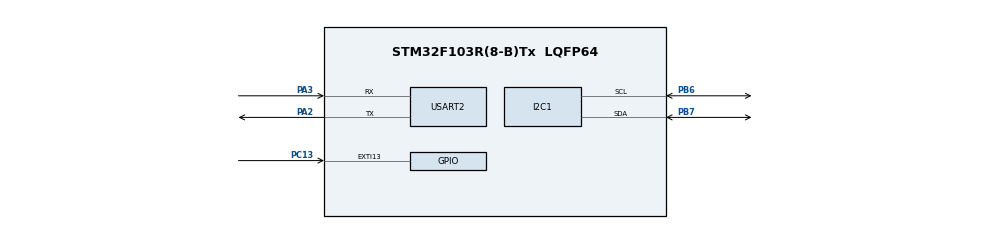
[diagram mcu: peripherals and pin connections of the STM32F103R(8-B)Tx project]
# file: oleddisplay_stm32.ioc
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FREERTOS.Tasks01=defaultTask,0,128,StartDefaultTask,Default,NULL,Dynamic,NULL,NULL
Mcu.Family=STM32F1
Mcu.Name=STM32F103R(8-B)Tx
Mcu.Package=LQFP64
NVIC.PriorityGroup=NVIC_PRIORITYGROUP_4
NVIC.TIM1_UP_IRQn=true\:15\:0\:false\:false\:true\:false\:false\:true\:true
NVIC.TimeBase=TIM1_UP_IRQn
NVIC.TimeBaseIP=TIM1
PA2.Mode=Asynchronous
PA2.Signal=USART2_TX
PA3.Mode=Asynchronous
PA3.Signal=USART2_RX
PB6.Mode=I2C
PB6.Signal=I2C1_SCL
PB7.Mode=I2C
PB7.Signal=I2C1_SDA
PC13-TAMPER-RTC.Signal=GPXTI13
PC14-OSC32_IN.Mode=LSE-External-Oscillator
PC14-OSC32_IN.Signal=RCC_OSC32_IN
PC15-OSC32_OUT.Mode=LSE-External-Oscillator
PC15-OSC32_OUT.Signal=RCC_OSC32_OUT
PD0-OSC_IN.Mode=HSE-External-Clock-Source
PD0-OSC_IN.Signal=RCC_OSC_IN
PD1-OSC_OUT.Mode=HSE-External-Clock-Source
PD1-OSC_OUT.Signal=RCC_OSC_OUT
ProjectManager.HeapSize=0x200
ProjectManager.StackSize=0x400
ProjectManager.TargetToolchain=STM32CubeIDE
RCC.APB1Freq_Value=8000000
RCC.APB2Freq_Value=8000000
USART2.VirtualMode=VM_ASYNC
VP_FREERTOS_VS_CMSIS_V1.Mode=CMSIS_V1
VP_SYS_VS_ND.Mode=No_Debug
VP_SYS_VS_tim1.Mode=TIM1
board=custom

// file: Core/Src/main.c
/* USER CODE BEGIN Header */
/**
  ******************************************************************************
  * @file           : main.c
  * @brief          : Main program body
  ******************************************************************************
  * @attention
  *
  * Copyright (c) 2026 STMicroelectronics.
  * All rights reserved.
  *
  * This software is licensed under terms that can be found in the LICENSE file
  * in the root directory of this software component.
  * If no LICENSE file comes with this software, it is provided AS-IS.
  *
  ******************************************************************************
  */
/* USER CODE END Header */
#include "main.h"
#include "cmsis_os.h"

/* USER CODE BEGIN Includes */
#include <stdio.h>
/* USER CODE END Includes */

I2C_HandleTypeDef hi2c1;

UART_HandleTypeDef huart2;

osThreadId defaultTaskHandle;

void SystemClock_Config(void);
static void MX_GPIO_Init(void);
static void MX_I2C1_Init(void);
static void MX_USART2_UART_Init(void);
void StartDefaultTask(void const * argument);

/* USER CODE BEGIN PFP */
void StartDisplayTask(void const * argument);

void StartCounterTask(void const * argument);
/* USER CODE END PFP */

/* USER CODE BEGIN 0 */

int __io_putchar(int ch)
{
    HAL_UART_Transmit(&huart2, (uint8_t *)&ch, 1, 10);
    return ch;
}

/* USER CODE END 0 */

int main(void)
{

  /* MCU Configuration--------------------------------------------------------*/

  /* Reset of all peripherals, Initializes the Flash interface and the Systick. */
  HAL_Init();

  /* Configure the system clock */
  SystemClock_Config();

  /* Initialize all configured peripherals */
  MX_GPIO_Init();
  MX_I2C1_Init();
  MX_USART2_UART_Init();
  /* USER CODE BEGIN 2 */
  HAL_Delay(100);
  printf("[MAIN] Mutex - Shared OLED Display\r\n");

  extern SemaphoreHandle_t oledMutex;
  oledMutex = xSemaphoreCreateMutex();
  if (oledMutex == NULL)
  {
      printf("[MAIN] FATAL: Mutex creation failed!\r\n");
      Error_Handler();
  }
  printf("[MAIN] Mutex created OK. Starting scheduler...\r\n");

  /* USER CODE END 2 */

  /* Create the thread(s) */
  /* definition and creation of defaultTask */
  osThreadDef(defaultTask, StartDefaultTask, osPriorityNormal, 0, 128);
  defaultTaskHandle = osThreadCreate(osThread(defaultTask), NULL);

  /* USER CODE BEGIN RTOS_THREADS */
  osThreadDef(DisplayTask, StartDisplayTask, osPriorityNormal, 0, 256);

  osThreadCreate(osThread(DisplayTask), NULL);

  osThreadDef(CounterTask, StartCounterTask, osPriorityNormal, 0, 128);

  osThreadCreate(osThread(CounterTask), NULL);
  /* USER CODE END RTOS_THREADS */

  /* Start scheduler */
  osKernelStart();

  /* We should never get here as control is now taken by the scheduler */

  /* Infinite loop */
  while (1)
  {

  }
}

void SystemClock_Config(void)
{
  RCC_OscInitTypeDef RCC_OscInitStruct = {0};
  RCC_ClkInitTypeDef RCC_ClkInitStruct = {0};

  /** Initializes the RCC Oscillators according to the specified parameters
  * in the RCC_OscInitTypeDef structure.
  */
  RCC_OscInitStruct.OscillatorType = RCC_OSCILLATORTYPE_HSI;
  RCC_OscInitStruct.HSIState = RCC_HSI_ON;
  RCC_OscInitStruct.HSICalibrationValue = RCC_HSICALIBRATION_DEFAULT;
  RCC_OscInitStruct.PLL.PLLState = RCC_PLL_NONE;
  if (HAL_RCC_OscConfig(&RCC_OscInitStruct) != HAL_OK)
  {
    Error_Handler();
  }

  /** Initializes the CPU, AHB and APB buses clocks
  */
  RCC_ClkInitStruct.ClockType = RCC_CLOCKTYPE_HCLK|RCC_CLOCKTYPE_SYSCLK
                              |RCC_CLOCKTYPE_PCLK1|RCC_CLOCKTYPE_PCLK2;
  RCC_ClkInitStruct.SYSCLKSource = RCC_SYSCLKSOURCE_HSI;
  RCC_ClkInitStruct.AHBCLKDivider = RCC_SYSCLK_DIV1;
  RCC_ClkInitStruct.APB1CLKDivider = RCC_HCLK_DIV1;
  RCC_ClkInitStruct.APB2CLKDivider = RCC_HCLK_DIV1;

  if (HAL_RCC_ClockConfig(&RCC_ClkInitStruct, FLASH_LATENCY_0) != HAL_OK)
  {
    Error_Handler();
  }
}

static void MX_I2C1_Init(void)
{

  hi2c1.Instance = I2C1;
  hi2c1.Init.ClockSpeed = 100000;
  hi2c1.Init.DutyCycle = I2C_DUTYCYCLE_2;
  hi2c1.Init.OwnAddress1 = 0;
  hi2c1.Init.AddressingMode = I2C_ADDRESSINGMODE_7BIT;
  hi2c1.Init.DualAddressMode = I2C_DUALADDRESS_DISABLE;
  hi2c1.Init.OwnAddress2 = 0;
  hi2c1.Init.GeneralCallMode = I2C_GENERALCALL_DISABLE;
  hi2c1.Init.NoStretchMode = I2C_NOSTRETCH_DISABLE;
  if (HAL_I2C_Init(&hi2c1) != HAL_OK)
  {
    Error_Handler();
  }

}

static void MX_USART2_UART_Init(void)
{

  huart2.Instance = USART2;
  huart2.Init.BaudRate = 115200;
  huart2.Init.WordLength = UART_WORDLENGTH_8B;
  huart2.Init.StopBits = UART_STOPBITS_1;
  huart2.Init.Parity = UART_PARITY_NONE;
  huart2.Init.Mode = UART_MODE_TX_RX;
  huart2.Init.HwFlowCtl = UART_HWCONTROL_NONE;
  huart2.Init.OverSampling = UART_OVERSAMPLING_16;
  if (HAL_UART_Init(&huart2) != HAL_OK)
  {
    Error_Handler();
  }

}

static void MX_GPIO_Init(void)
{
  GPIO_InitTypeDef GPIO_InitStruct = {0};

  /* GPIO Ports Clock Enable */
  __HAL_RCC_GPIOC_CLK_ENABLE();
  __HAL_RCC_GPIOD_CLK_ENABLE();
  __HAL_RCC_GPIOA_CLK_ENABLE();
  __HAL_RCC_GPIOB_CLK_ENABLE();

  /*Configure GPIO pin : PC13 */
  GPIO_InitStruct.Pin = GPIO_PIN_13;
  GPIO_InitStruct.Mode = GPIO_MODE_IT_RISING;
  GPIO_InitStruct.Pull = GPIO_NOPULL;
  HAL_GPIO_Init(GPIOC, &GPIO_InitStruct);

}

void StartDefaultTask(void const * argument)
{
  for(;;)
  {
    osDelay(1);
  }
}

void HAL_TIM_PeriodElapsedCallback(TIM_HandleTypeDef *htim)
{
  if (htim->Instance == TIM1)
  {
    HAL_IncTick();
  }
}

void Error_Handler(void)
{
  __disable_irq();
  while (1)
  {
  }
}

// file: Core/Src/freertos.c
/* USER CODE BEGIN Header */
/**
 * @brief   : Module 7E2 - Mutex Shared OLED Display
 * @course  : STM32 Professional - Altrobyte Automation
 * @author  : Pawan Meena
 * @company : Altrobyte Automation Pvt Ltd
 */
/* USER CODE END Header */

#include "FreeRTOS.h"
#include "task.h"
#include "main.h"

/* USER CODE BEGIN Includes */
#include <stdio.h>
#include <string.h>
#include "semphr.h"
#include "ssd1306.h"
#include "ssd1306_fonts.h"
/* USER CODE END Includes */

/* USER CODE BEGIN Variables */
extern I2C_HandleTypeDef hi2c1;

SemaphoreHandle_t oledMutex = NULL;

/* Shared counter — written by CounterTask, read by DisplayTask */
volatile uint32_t g_counter = 0;
/* USER CODE END Variables */

/* USER CODE BEGIN FunctionPrototypes */
void StartDisplayTask(void const * argument);
void StartCounterTask(void const * argument);
/* USER CODE END FunctionPrototypes */

/* GetIdleTaskMemory prototype (linked to static allocation support) */
void vApplicationGetIdleTaskMemory( StaticTask_t **ppxIdleTaskTCBBuffer, StackType_t **ppxIdleTaskStackBuffer, uint32_t *pulIdleTaskStackSize );

/* USER CODE BEGIN GET_IDLE_TASK_MEMORY */
static StaticTask_t xIdleTaskTCBBuffer;
static StackType_t xIdleStack[configMINIMAL_STACK_SIZE];

void vApplicationGetIdleTaskMemory( StaticTask_t **ppxIdleTaskTCBBuffer, StackType_t **ppxIdleTaskStackBuffer, uint32_t *pulIdleTaskStackSize )
{
  *ppxIdleTaskTCBBuffer = &xIdleTaskTCBBuffer;
  *ppxIdleTaskStackBuffer = &xIdleStack[0];
  *pulIdleTaskStackSize = configMINIMAL_STACK_SIZE;
  /* place for user code */
}
/* USER CODE END GET_IDLE_TASK_MEMORY */

/* USER CODE BEGIN Application */

/* ================================================================
 * DISPLAY TASK
 * - Owns the OLED display
 * - Takes oledMutex before every write, gives after
 * - Updates display every 500ms
 * ================================================================ */
void StartDisplayTask(void const * argument)
{
    /* Mutex already created in main(). Just verify it here. */
    if (oledMutex == NULL)
    {
        printf("[DISPLAY] ERROR: oledMutex is NULL. Exiting task.\r\n");
        vTaskDelete(NULL);
        return;
    }

    /* Initialize OLED — safe here as only DisplayTask owns the display */
    ssd1306_Init();
    ssd1306_Fill(Black);
    ssd1306_UpdateScreen();

    printf("[DISPLAY] OLED initialized. Starting display loop.\r\n");

    char line1[20];
    char line2[20];

    for (;;)
    {
        /* Take mutex — wait max 100ms
         * If CounterTask holds it, this task sleeps (no busy-wait)
         * 100ms timeout prevents deadlock hang               */
        if (xSemaphoreTake(oledMutex, pdMS_TO_TICKS(100)) == pdTRUE)
        {
            /* ===== CRITICAL SECTION: Only one task executes here ===== */

            ssd1306_Fill(Black);

            /* Line 1: Counter value (read inside mutex — consistent value) */
            snprintf(line1, sizeof(line1), "Counter: %lu", (unsigned long)g_counter);
            ssd1306_SetCursor(0, 0);
            ssd1306_WriteString(line1, Font_7x10, White);

            /* Line 2: Uptime in seconds */
            uint32_t uptime = xTaskGetTickCount() / 1000;
            snprintf(line2, sizeof(line2), "Up: %lus", (unsigned long)uptime);
            ssd1306_SetCursor(0, 20);
            ssd1306_WriteString(line2, Font_7x10, White);

            /* Line 3: Static branding label */
            ssd1306_SetCursor(0, 40);
            ssd1306_WriteString("Altrobyte FreeRTOS", Font_6x8, White);

            /* Push frame buffer to physical display */
            ssd1306_UpdateScreen();

            /* ===== END CRITICAL SECTION ===== */

            printf("[DISPLAY] Counter: %lu | Uptime: %lus\r\n",
                   (unsigned long)g_counter, (unsigned long)uptime);

            /* FIX #3: Give mutex BEFORE vTaskDelay — never hold mutex during sleep */
            xSemaphoreGive(oledMutex);
        }
        else
        {
            /* Mutex timeout — another task held it too long, log the event */
            printf("[DISPLAY] WARNING: Mutex timeout! OLED update skipped.\r\n");
        }

        /* Sleep 500ms — display refresh rate */
        vTaskDelay(pdMS_TO_TICKS(500));
    }
}

/* ================================================================
 * COUNTER TASK
 * - Increments g_counter every 1000ms
 * - FIX #2: Takes mutex before modifying shared variable g_counter
 *   This ensures DisplayTask never reads a half-updated value
 *   (critical for multi-byte types; good practice for uint32_t too)
 * ================================================================ */
void StartCounterTask(void const * argument)
{
    printf("[COUNTER] Started. Incrementing every 1000ms.\r\n");

    for (;;)
    {
        /* FIX #2: Protect shared variable with mutex */
        if (oledMutex != NULL)
        {
            if (xSemaphoreTake(oledMutex, pdMS_TO_TICKS(200)) == pdTRUE)
            {
                g_counter++;
                printf("[COUNTER] Count: %lu\r\n", (unsigned long)g_counter);
                xSemaphoreGive(oledMutex);
            }
            else
            {
                printf("[COUNTER] WARNING: Mutex timeout! Counter not incremented.\r\n");
            }
        }

        /* Increment every 1000ms — independent of DisplayTask's 500ms cycle */
        vTaskDelay(pdMS_TO_TICKS(1000));
    }
}

/* USER CODE END Application */
